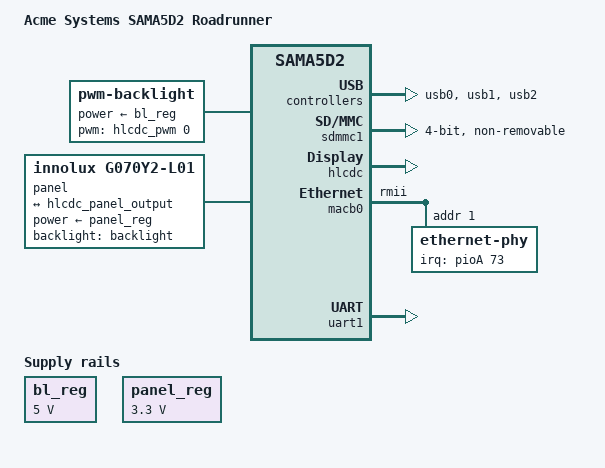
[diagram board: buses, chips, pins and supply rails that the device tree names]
/*
 * Device Tree file for Acme Systems for RoadRunner SOM 
 * 7 inch TFT 
 * https://github.com/linux4sam/dt-overlay-at91/blob/master/sama5d2_ptc_ek/sama5d2_ptc_ek_pda5.dtso
 * https://www.linux4sam.org/bin/view/Linux4SAM/UsingAtmelDRMDriver
 *
 *  Copyright (C) 2015 Atmel,
 *                2015 Nicolas Ferre <nicolas.ferre@atmel.com>
 *                2020 Sergio Tanzilli <tanzilli@acmesystems.it>
 *
 * This file is dual-licensed: you can use it either under the terms
 * of the GPL or the X11 license, at your option. Note that this dual
 * licensing only applies to this file, and not this project as a
 * whole.
 *
 *  a) This file is free software; you can redistribute it and/or
 *     modify it under the terms of the GNU General Public License as
 *     published by the Free Software Foundation; either version 2 of the
 *     License, or (at your option) any later version.
 *
 *     This file is distributed in the hope that it will be useful,
 *     but WITHOUT ANY WARRANTY; without even the implied warranty of
 *     MERCHANTABILITY or FITNESS FOR A PARTICULAR PURPOSE.  See the
 *     GNU General Public License for more details.
 *
 * Or, alternatively,
 *
 *  b) Permission is hereby granted, free of charge, to any person
 *     obtaining a copy of this software and associated documentation
 *     files (the "Software"), to deal in the Software without
 *     restriction, including without limitation the rights to use,
 *     copy, modify, merge, publish, distribute, sublicense, and/or
 *     sell copies of the Software, and to permit persons to whom the
 *     Software is furnished to do so, subject to the following
 *     conditions:
 *
 *     The above copyright notice and this permission notice shall be
 *     included in all copies or substantial portions of the Software.
 *
 *     THE SOFTWARE IS PROVIDED "AS IS", WITHOUT WARRANTY OF ANY KIND,
 *     EXPRESS OR IMPLIED, INCLUDING BUT NOT LIMITED TO THE WARRANTIES
 *     OF MERCHANTABILITY, FITNESS FOR A PARTICULAR PURPOSE AND
 *     NONINFRINGEMENT. IN NO EVENT SHALL THE AUTHORS OR COPYRIGHT
 *     HOLDERS BE LIABLE FOR ANY CLAIM, DAMAGES OR OTHER LIABILITY,
 *     WHETHER IN AN ACTION OF CONTRACT, TORT OR OTHERWISE, ARISING
 *     FROM, OUT OF OR IN CONNECTION WITH THE SOFTWARE OR THE USE OR
 *     OTHER DEALINGS IN THE SOFTWARE.
 */
/dts-v1/;
#include "sama5d2.dtsi"
#include "sama5d2-pinfunc.h"
#include <dt-bindings/mfd/atmel-flexcom.h>
#include <dt-bindings/gpio/gpio.h>

/ {
	model = "Acme Systems SAMA5D2 Roadrunner";
	compatible = "atmel,sama5d2-roadrunner", "atmel,sama5d27","atmel,sama5d2", "atmel,sama5";

	bootargs = "mem=256M console=ttyS0,115200 root=/dev/mmcblk0p2 rootfstype=ext4 rw rootwait consoleblank=0";

	chosen {
		stdout-path = "serial0:115200n8";
	};

	clocks {
		slow_xtal {
			clock-frequency = <32768>;
		};

		main_xtal {
			clock-frequency = <12000000>;
		};
	};

	ahb {

		usb0: gadget@300000 {
			pinctrl-names = "default";
			pinctrl-0 = <&pinctrl_usba_vbus>;
			status = "okay";
		};

		usb1: ohci@400000 {
			num-ports = <3>;
			pinctrl-names = "default";
			pinctrl-0 = <&pinctrl_usb_default>;
			status = "okay";
		};

		usb2: ehci@500000 {
			status = "okay";
		};

		sdmmc1: sdio-host@b0000000 {
			bus-width = <4>;
			pinctrl-names = "default";
			pinctrl-0 = <&pinctrl_sdmmc1_default>;
			non-removable;
			status = "okay"; /* conflict with qspi0 */
		};

		apb {
			hlcdc: hlcdc@f0000000 {
				status = "okay";

				hlcdc-display-controller {

					pinctrl-names = "default";
					pinctrl-0 = <&pinctrl_lcd_base &pinctrl_lcd_rgb666>;

					port@0 {
						#address-cells = <1>;
						#size-cells = <0>;
						hlcdc_panel_output: endpoint@0 {
							reg = <0>;
							remote-endpoint = <&panel_input>;
						};
					};
				};
				
				hlcdc_pwm: hlcdc-pwm {
					pinctrl-names = "default";
					pinctrl-0 = <&pinctrl_lcd_pwm>;
				};
				
			};	

			backlight: backlight {
				compatible = "pwm-backlight";
				pwms = <&hlcdc_pwm 0 50000 0>;
				brightness-levels = <0 4 8 16 32 64 128 255>;
				default-brightness-level = <7>;
				power-supply = <&bl_reg>;
				status = "okay";
			};

			bl_reg: backlight_regulator {
				compatible = "regulator-fixed";
				regulator-name = "backlight-power-supply";
				regulator-min-microvolt = <5000000>;
				regulator-max-microvolt = <5000000>;
				status = "okay";
			};

			panel: panel {
				/* compatible = "pda,91-00156-a0", "simple-panel"; */
				compatible = "innolux,g070y2-l01", "simple-panel";
				backlight = <&backlight>;
				power-supply = <&panel_reg>;
				#address-cells = <1>;
				#size-cells = <0>;
				status = "okay";

				port@0 {
					reg = <0>;
					#address-cells = <1>;
					#size-cells = <0>;

					panel_input: endpoint@0 {
						reg = <0>;
						remote-endpoint = <&hlcdc_panel_output>;
					};
				};
			};

			panel_reg: panel_regulator {
				compatible = "regulator-fixed";
				regulator-name = "panel-power-supply";
				regulator-min-microvolt = <3300000>;
				regulator-max-microvolt = <3300000>;
				status = "okay";
			};


			macb0: ethernet@f8008000 {
				pinctrl-names = "default";
				pinctrl-0 = <&pinctrl_macb0_default &pinctrl_macb0_phy_irq>;
				phy-mode = "rmii";
				status = "okay";

				ethernet-phy@1 {
					reg = <0x1>;
					interrupt-parent = <&pioA>;
					interrupts = <73 IRQ_TYPE_LEVEL_LOW>;
					/*interrupts = <PIN_PC9 IRQ_TYPE_LEVEL_LOW>;*/
				};
			};

			tcb0: timer@f800c000 {
				timer0: timer@0 {
					compatible = "atmel,tcb-timer";
					reg = <0>;
				};

				timer1: timer@1 {
					compatible = "atmel,tcb-timer";
					reg = <1>;
				};
			};

			uart1: serial@f8020000 {
				pinctrl-names = "default";
				pinctrl-0 = <&pinctrl_uart1_default>;
				atmel,use-dma-rx;
				atmel,use-dma-tx;
				status = "okay";
			};

			shdwc@f8048010 {
				atmel,shdwc-debouncer = <976>;
				atmel,wakeup-rtc-timer;

				input@0 {
					reg = <0>;
					atmel,wakeup-type = "low";
				};
			};

			watchdog@f8048040 {
				status = "okay";
			};

			pinctrl@fc038000 {
			
				pinctrl_lcd_base: pinctrl_lcd_base {
					pinmux = <PIN_PC30__LCDVSYNC>,
						 <PIN_PC31__LCDHSYNC>,
						 <PIN_PD1__LCDDEN>,
						 <PIN_PD0__LCDPCK>;
					bias-disable;
					/* atmel,drive-strength = <ATMEL_PIO_DRVSTR_ME>; */
				};


				pinctrl_lcd_rgb666: pinctrl_lcd_rgb666 {
					pinmux = <PIN_PC10__LCDDAT2>,
						 <PIN_PC11__LCDDAT3>,
						 <PIN_PC12__LCDDAT4>,
						 <PIN_PC13__LCDDAT5>,
						 <PIN_PC14__LCDDAT6>,
						 <PIN_PC15__LCDDAT7>,
						 <PIN_PC16__LCDDAT10>,
						 <PIN_PC17__LCDDAT11>,
						 <PIN_PC18__LCDDAT12>,
						 <PIN_PC19__LCDDAT13>,
						 <PIN_PC20__LCDDAT14>,
						 <PIN_PC21__LCDDAT15>,
						 <PIN_PC22__LCDDAT18>,
						 <PIN_PC23__LCDDAT19>,
						 <PIN_PC24__LCDDAT20>,
						 <PIN_PC25__LCDDAT21>,
						 <PIN_PC26__LCDDAT22>,
						 <PIN_PC27__LCDDAT23>;
					bias-disable;
				};

				pinctrl_lcd_pwm: pinctrl_lcd_pwm {
					pinmux = <PIN_PC28__LCDPWM>;
					bias-disable;
				};

				pinctrl_isc_base: isc_base {
					pinmux = <PIN_PC4__ISC_PCK>,
						 <PIN_PC5__ISC_VSYNC>,
						 <PIN_PC6__ISC_HSYNC>,
						 <PIN_PC7__ISC_MCK>;
					bias-disable;
				};


				/*
				 * The ADTRG pin can work on any edge type.
				 * In here it's being pulled up, so need to
				 * connect it to ground to get an edge e.g.
				 * Trigger can be configured on falling, rise
				 * or any edge, and the pull-up can be changed
				 * to pull-down or left floating according to
				 * needs.
				 */
				pinctrl_adtrg_default: adtrg_default {
					pinmux = <PIN_PD31__ADTRG>;
					bias-pull-up;
				};

				pinctrl_charger_chglev: charger_chglev {
					pinmux = <PIN_PA12__GPIO>;
					bias-disable;
				};

				pinctrl_charger_irq: charger_irq {
					pinmux = <PIN_PB13__GPIO>;
					bias-disable;
				};

				pinctrl_charger_lbo: charger_lbo {
					pinmux = <PIN_PC8__GPIO>;
					bias-pull-up;
				};

				pinctrl_classd_default: classd_default {
					pinmux = <PIN_PB1__CLASSD_R0>,
						 <PIN_PB2__CLASSD_R1>,
						 <PIN_PB3__CLASSD_R2>,
						 <PIN_PB4__CLASSD_R3>;
					bias-pull-up;
				};

				pinctrl_flx0_default: flx0_default {
					pinmux = <PIN_PB28__FLEXCOM0_IO0>,
						 <PIN_PB29__FLEXCOM0_IO1>;
					bias-disable;
				};

				pinctrl_flx4_default: flx4_default {
					pinmux = <PIN_PD12__FLEXCOM4_IO0>,
						 <PIN_PD13__FLEXCOM4_IO1>;
					bias-disable;
				};

				pinctrl_i2c0_default: i2c0_default {
					pinmux = <PIN_PD21__TWD0>,
						 <PIN_PD22__TWCK0>;
					bias-disable;
				};

				pinctrl_i2c1_default: i2c1_default {
					pinmux = <PIN_PD4__TWD1>,
						 <PIN_PD5__TWCK1>;
					bias-disable;
				};

				pinctrl_key_gpio_default: key_gpio_default {
					pinmux = <PIN_PB9__GPIO>;
					bias-pull-up;
				};

				pinctrl_macb0_default: macb0_default {
					pinmux = <PIN_PB14__GTXCK>,
						 <PIN_PB15__GTXEN>,
						 <PIN_PB16__GRXDV>,
						 <PIN_PB17__GRXER>,
						 <PIN_PB18__GRX0>,
						 <PIN_PB19__GRX1>,
						 <PIN_PB20__GTX0>,
						 <PIN_PB21__GTX1>,
						 <PIN_PB22__GMDC>,
						 <PIN_PB23__GMDIO>;
					bias-disable;
				};

				pinctrl_macb0_phy_irq: macb0_phy_irq {
					pinmux = <PIN_PC9__GPIO>;
					bias-disable;
				};

				pinctrl_pdmic_default: pdmic_default {
					pinmux = <PIN_PB26__PDMIC_DAT>,
						<PIN_PB27__PDMIC_CLK>;
					bias-disable;
				};

				pinctrl_sdmmc0_default: sdmmc0_default {
					cmd_data {
						pinmux = <PIN_PA1__SDMMC0_CMD>,
							 <PIN_PA2__SDMMC0_DAT0>,
							 <PIN_PA3__SDMMC0_DAT1>,
							 <PIN_PA4__SDMMC0_DAT2>,
							 <PIN_PA5__SDMMC0_DAT3>,
							 <PIN_PA6__SDMMC0_DAT4>,
							 <PIN_PA7__SDMMC0_DAT5>,
							 <PIN_PA8__SDMMC0_DAT6>,
							 <PIN_PA9__SDMMC0_DAT7>;
						bias-disable;
					};

					ck_cd_rstn_vddsel {
						pinmux = <PIN_PA0__SDMMC0_CK>,
							 <PIN_PA10__SDMMC0_RSTN>,
							 <PIN_PA11__SDMMC0_VDDSEL>,
							 <PIN_PA13__SDMMC0_CD>;
						bias-disable;
					};
				};

				pinctrl_sdmmc1_default: sdmmc1_default {
					cmd_data {
						pinmux = <PIN_PA28__SDMMC1_CMD>,
							 <PIN_PA18__SDMMC1_DAT0>,
							 <PIN_PA19__SDMMC1_DAT1>,
							 <PIN_PA20__SDMMC1_DAT2>,
							 <PIN_PA21__SDMMC1_DAT3>;
						bias-pull-up;
					};

					conf-ck_cd {
						pinmux = <PIN_PA22__SDMMC1_CK>;
						bias-disable;
					};
				};

				/* Pin definition SPI 0 Peripheral A */

				pinctrl_spi0_default: spi0_default {
					pinmux = <PIN_PA14__SPI0_SPCK>,
							 <PIN_PA15__SPI0_MOSI>,
							 <PIN_PA16__SPI0_MISO>,
							 <PIN_PA17__SPI0_NPCS0>;
					bias-disable;
				};

				/* Pin definition SPI 1 Peripheral D */

				pinctrl_spi1_default: spi1_default {
					pinmux = <PIN_PC1__SPI1_SPCK>,
							<PIN_PC2__SPI1_MOSI>,
							<PIN_PC3__SPI1_MISO>,
							<PIN_PC4__SPI1_NPCS0>,
							<PIN_PC5__SPI1_NPCS1>;
					bias-disable;
				};

				pinctrl_uart1_default: uart1_default {
					pinmux = <PIN_PD2__URXD1>,
						 <PIN_PD3__UTXD1>;
					bias-disable;
				};

				pinctrl_uart3_default: uart3_default {
					pinmux = <PIN_PB11__URXD3>,
						 <PIN_PB12__UTXD3>;
					bias-disable;
				};

				pinctrl_usb_default: usb_default {
					pinmux = <PIN_PB10__GPIO>;
					bias-disable;
				};

				pinctrl_usba_vbus: usba_vbus {
					pinmux = <PIN_PA31__GPIO>;
					bias-disable;
				};

				pinctrl_pwm0_pwm2_default: pwm0_pwm2_default {
					pinmux = <PIN_PB5__PWMH2>,
						 <PIN_PB6__PWML2>;
					bias-pull-up;
				};
			};
		};
	};
};
